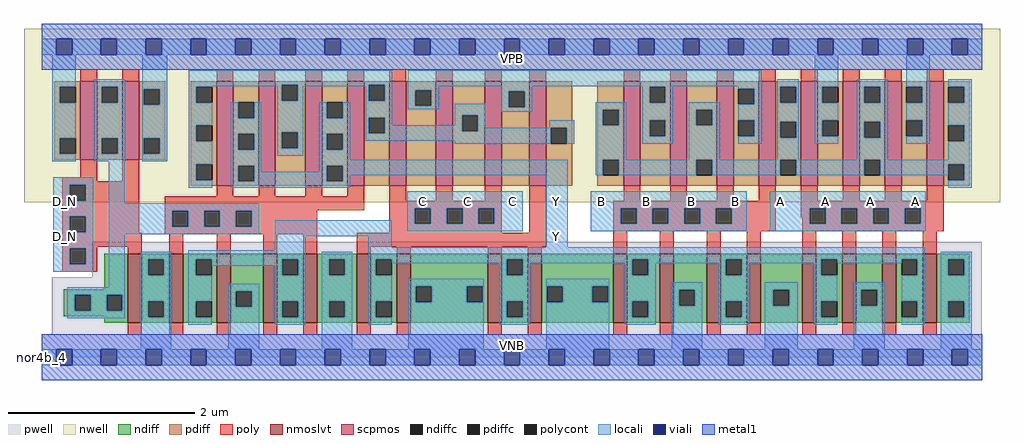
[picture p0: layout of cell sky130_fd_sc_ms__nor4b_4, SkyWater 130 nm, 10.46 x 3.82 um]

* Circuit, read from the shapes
.subckt sky130_fd_sc_ms__nor4b_4 A B C D_N VGND VNB VPB VPWR Y
XM1 VGND D_N n1 VNB sky130_fd_pr__nfet_01v8_lvt w=0.74 l=0.15
XM2 Y n1 VGND VNB sky130_fd_pr__nfet_01v8_lvt w=0.74 l=0.15 m=4
XM3 Y C VGND VNB sky130_fd_pr__nfet_01v8_lvt w=0.74 l=0.15 m=4
XM4 Y B VGND VNB sky130_fd_pr__nfet_01v8_lvt w=0.74 l=0.15 m=4
XM5 Y A VGND VNB sky130_fd_pr__nfet_01v8_lvt w=0.74 l=0.15 m=4
XM6 n1 D_N VPWR VPB sky130_fd_pr__pfet_01v8 w=0.84 l=0.18 m=2
XM7 Y n1 n2 VPB sky130_fd_pr__pfet_01v8 w=1.12 l=0.18 m=4
XM8 n3 C n2 VPB sky130_fd_pr__pfet_01v8 w=1.12 l=0.18 m=4
XM9 n3 B n4 VPB sky130_fd_pr__pfet_01v8 w=1.12 l=0.18 m=4
XM10 VPWR A n4 VPB sky130_fd_pr__pfet_01v8 w=1.12 l=0.18 m=4
.ends

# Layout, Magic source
magic
tech sky130A
magscale 1 2
<< nwell >>
rect -38 332 2054 704
<< pwell >>
rect 108 172 2015 248
rect 21 49 2015 172
rect 0 0 2016 49
<< scpmos >>
rect 83 424 119 592
rect 173 424 209 592
rect 375 368 411 592
rect 465 368 501 592
rect 565 368 601 592
rect 655 368 691 592
rect 745 368 781 592
rect 845 368 881 592
rect 950 368 986 592
rect 1045 368 1081 592
rect 1247 368 1283 592
rect 1347 368 1383 592
rect 1447 368 1483 592
rect 1537 368 1573 592
rect 1627 368 1663 592
rect 1717 368 1753 592
rect 1807 368 1843 592
rect 1897 368 1933 592
<< nmoslvt >>
rect 184 74 214 222
rect 273 74 303 222
rect 375 74 405 222
rect 475 74 505 222
rect 561 74 591 222
rect 675 74 705 222
rect 761 74 791 222
rect 956 74 986 222
rect 1042 74 1072 222
rect 1225 74 1255 222
rect 1325 74 1355 222
rect 1425 74 1455 222
rect 1511 74 1541 222
rect 1630 74 1660 222
rect 1716 74 1746 222
rect 1802 74 1832 222
rect 1888 74 1918 222
<< ndiff >>
rect 134 146 184 222
rect 47 134 184 146
rect 47 100 71 134
rect 105 100 139 134
rect 173 100 184 134
rect 47 88 184 100
rect 134 74 184 88
rect 214 210 273 222
rect 214 176 228 210
rect 262 176 273 210
rect 214 120 273 176
rect 214 86 228 120
rect 262 86 273 120
rect 214 74 273 86
rect 303 210 375 222
rect 303 176 330 210
rect 364 176 375 210
rect 303 120 375 176
rect 303 86 330 120
rect 364 86 375 120
rect 303 74 375 86
rect 405 142 475 222
rect 405 108 416 142
rect 450 108 475 142
rect 405 74 475 108
rect 505 210 561 222
rect 505 176 516 210
rect 550 176 561 210
rect 505 120 561 176
rect 505 86 516 120
rect 550 86 561 120
rect 505 74 561 86
rect 591 210 675 222
rect 591 176 616 210
rect 650 176 675 210
rect 591 120 675 176
rect 591 86 616 120
rect 650 86 675 120
rect 591 74 675 86
rect 705 210 761 222
rect 705 176 716 210
rect 750 176 761 210
rect 705 120 761 176
rect 705 86 716 120
rect 750 86 761 120
rect 705 74 761 86
rect 791 152 956 222
rect 791 118 802 152
rect 836 118 911 152
rect 945 118 956 152
rect 791 74 956 118
rect 986 210 1042 222
rect 986 176 997 210
rect 1031 176 1042 210
rect 986 120 1042 176
rect 986 86 997 120
rect 1031 86 1042 120
rect 986 74 1042 86
rect 1072 152 1225 222
rect 1072 118 1083 152
rect 1117 118 1180 152
rect 1214 118 1225 152
rect 1072 74 1225 118
rect 1255 210 1325 222
rect 1255 176 1266 210
rect 1300 176 1325 210
rect 1255 120 1325 176
rect 1255 86 1266 120
rect 1300 86 1325 120
rect 1255 74 1325 86
rect 1355 145 1425 222
rect 1355 111 1366 145
rect 1400 111 1425 145
rect 1355 74 1425 111
rect 1455 210 1511 222
rect 1455 176 1466 210
rect 1500 176 1511 210
rect 1455 120 1511 176
rect 1455 86 1466 120
rect 1500 86 1511 120
rect 1455 74 1511 86
rect 1541 145 1630 222
rect 1541 111 1568 145
rect 1602 111 1630 145
rect 1541 74 1630 111
rect 1660 210 1716 222
rect 1660 176 1671 210
rect 1705 176 1716 210
rect 1660 120 1716 176
rect 1660 86 1671 120
rect 1705 86 1716 120
rect 1660 74 1716 86
rect 1746 145 1802 222
rect 1746 111 1757 145
rect 1791 111 1802 145
rect 1746 74 1802 111
rect 1832 210 1888 222
rect 1832 176 1843 210
rect 1877 176 1888 210
rect 1832 120 1888 176
rect 1832 86 1843 120
rect 1877 86 1888 120
rect 1832 74 1888 86
rect 1918 210 1989 222
rect 1918 176 1943 210
rect 1977 176 1989 210
rect 1918 120 1989 176
rect 1918 86 1943 120
rect 1977 86 1989 120
rect 1918 74 1989 86
<< pdiff >>
rect 27 580 83 592
rect 27 546 39 580
rect 73 546 83 580
rect 27 470 83 546
rect 27 436 39 470
rect 73 436 83 470
rect 27 424 83 436
rect 119 580 173 592
rect 119 546 129 580
rect 163 546 173 580
rect 119 470 173 546
rect 119 436 129 470
rect 163 436 173 470
rect 119 424 173 436
rect 209 575 265 592
rect 209 541 219 575
rect 253 541 265 575
rect 209 470 265 541
rect 209 436 219 470
rect 253 436 265 470
rect 209 424 265 436
rect 319 580 375 592
rect 319 546 331 580
rect 365 546 375 580
rect 319 497 375 546
rect 319 463 331 497
rect 365 463 375 497
rect 319 414 375 463
rect 319 380 331 414
rect 365 380 375 414
rect 319 368 375 380
rect 411 547 465 592
rect 411 513 421 547
rect 455 513 465 547
rect 411 479 465 513
rect 411 445 421 479
rect 455 445 465 479
rect 411 411 465 445
rect 411 377 421 411
rect 455 377 465 411
rect 411 368 465 377
rect 501 584 565 592
rect 501 550 515 584
rect 549 550 565 584
rect 501 482 565 550
rect 501 448 515 482
rect 549 448 565 482
rect 501 368 565 448
rect 601 547 655 592
rect 601 513 611 547
rect 645 513 655 547
rect 601 479 655 513
rect 601 445 611 479
rect 645 445 655 479
rect 601 411 655 445
rect 601 377 611 411
rect 645 377 655 411
rect 601 368 655 377
rect 691 584 745 592
rect 691 550 701 584
rect 735 550 745 584
rect 691 514 745 550
rect 691 480 701 514
rect 735 480 745 514
rect 691 368 745 480
rect 781 573 845 592
rect 781 539 801 573
rect 835 539 845 573
rect 781 368 845 539
rect 881 519 950 592
rect 881 485 901 519
rect 935 485 950 519
rect 881 368 950 485
rect 986 570 1045 592
rect 986 536 1001 570
rect 1035 536 1045 570
rect 986 368 1045 536
rect 1081 492 1137 592
rect 1081 458 1091 492
rect 1125 458 1137 492
rect 1081 368 1137 458
rect 1191 531 1247 592
rect 1191 497 1203 531
rect 1237 497 1247 531
rect 1191 424 1247 497
rect 1191 390 1203 424
rect 1237 390 1247 424
rect 1191 368 1247 390
rect 1283 580 1347 592
rect 1283 546 1303 580
rect 1337 546 1347 580
rect 1283 508 1347 546
rect 1283 474 1303 508
rect 1337 474 1347 508
rect 1283 368 1347 474
rect 1383 531 1447 592
rect 1383 497 1403 531
rect 1437 497 1447 531
rect 1383 424 1447 497
rect 1383 390 1403 424
rect 1437 390 1447 424
rect 1383 368 1447 390
rect 1483 576 1537 592
rect 1483 542 1493 576
rect 1527 542 1537 576
rect 1483 508 1537 542
rect 1483 474 1493 508
rect 1527 474 1537 508
rect 1483 368 1537 474
rect 1573 580 1627 592
rect 1573 546 1583 580
rect 1617 546 1627 580
rect 1573 505 1627 546
rect 1573 471 1583 505
rect 1617 471 1627 505
rect 1573 424 1627 471
rect 1573 390 1583 424
rect 1617 390 1627 424
rect 1573 368 1627 390
rect 1663 580 1717 592
rect 1663 546 1673 580
rect 1707 546 1717 580
rect 1663 508 1717 546
rect 1663 474 1673 508
rect 1707 474 1717 508
rect 1663 368 1717 474
rect 1753 580 1807 592
rect 1753 546 1763 580
rect 1797 546 1807 580
rect 1753 505 1807 546
rect 1753 471 1763 505
rect 1797 471 1807 505
rect 1753 424 1807 471
rect 1753 390 1763 424
rect 1797 390 1807 424
rect 1753 368 1807 390
rect 1843 580 1897 592
rect 1843 546 1853 580
rect 1887 546 1897 580
rect 1843 508 1897 546
rect 1843 474 1853 508
rect 1887 474 1897 508
rect 1843 368 1897 474
rect 1933 580 1989 592
rect 1933 546 1943 580
rect 1977 546 1989 580
rect 1933 497 1989 546
rect 1933 463 1943 497
rect 1977 463 1989 497
rect 1933 414 1989 463
rect 1933 380 1943 414
rect 1977 380 1989 414
rect 1933 368 1989 380
<< ndiffc >>
rect 71 100 105 134
rect 139 100 173 134
rect 228 176 262 210
rect 228 86 262 120
rect 330 176 364 210
rect 330 86 364 120
rect 416 108 450 142
rect 516 176 550 210
rect 516 86 550 120
rect 616 176 650 210
rect 616 86 650 120
rect 716 176 750 210
rect 716 86 750 120
rect 802 118 836 152
rect 911 118 945 152
rect 997 176 1031 210
rect 997 86 1031 120
rect 1083 118 1117 152
rect 1180 118 1214 152
rect 1266 176 1300 210
rect 1266 86 1300 120
rect 1366 111 1400 145
rect 1466 176 1500 210
rect 1466 86 1500 120
rect 1568 111 1602 145
rect 1671 176 1705 210
rect 1671 86 1705 120
rect 1757 111 1791 145
rect 1843 176 1877 210
rect 1843 86 1877 120
rect 1943 176 1977 210
rect 1943 86 1977 120
<< pdiffc >>
rect 39 546 73 580
rect 39 436 73 470
rect 129 546 163 580
rect 129 436 163 470
rect 219 541 253 575
rect 219 436 253 470
rect 331 546 365 580
rect 331 463 365 497
rect 331 380 365 414
rect 421 513 455 547
rect 421 445 455 479
rect 421 377 455 411
rect 515 550 549 584
rect 515 448 549 482
rect 611 513 645 547
rect 611 445 645 479
rect 611 377 645 411
rect 701 550 735 584
rect 701 480 735 514
rect 801 539 835 573
rect 901 485 935 519
rect 1001 536 1035 570
rect 1091 458 1125 492
rect 1203 497 1237 531
rect 1203 390 1237 424
rect 1303 546 1337 580
rect 1303 474 1337 508
rect 1403 497 1437 531
rect 1403 390 1437 424
rect 1493 542 1527 576
rect 1493 474 1527 508
rect 1583 546 1617 580
rect 1583 471 1617 505
rect 1583 390 1617 424
rect 1673 546 1707 580
rect 1673 474 1707 508
rect 1763 546 1797 580
rect 1763 471 1797 505
rect 1763 390 1797 424
rect 1853 546 1887 580
rect 1853 474 1887 508
rect 1943 546 1977 580
rect 1943 463 1977 497
rect 1943 380 1977 414
<< poly >>
rect 83 592 119 618
rect 173 592 209 618
rect 375 592 411 618
rect 465 592 501 618
rect 565 592 601 618
rect 655 592 691 618
rect 745 592 781 618
rect 845 592 881 618
rect 950 592 986 618
rect 1045 592 1081 618
rect 1247 592 1283 618
rect 1347 592 1383 618
rect 1447 592 1483 618
rect 1537 592 1573 618
rect 1627 592 1663 618
rect 1717 592 1753 618
rect 1807 592 1843 618
rect 1897 592 1933 618
rect 83 386 119 424
rect 44 377 119 386
rect 173 377 209 424
rect 44 370 209 377
rect 44 336 60 370
rect 94 336 209 370
rect 375 345 411 368
rect 465 345 501 368
rect 565 345 601 368
rect 655 345 691 368
rect 44 302 209 336
rect 44 268 60 302
rect 94 268 209 302
rect 44 267 209 268
rect 264 315 691 345
rect 745 336 781 368
rect 845 336 881 368
rect 950 336 986 368
rect 745 320 986 336
rect 264 314 591 315
rect 264 280 280 314
rect 314 280 348 314
rect 382 280 416 314
rect 450 280 591 314
rect 44 237 214 267
rect 264 264 591 280
rect 745 286 800 320
rect 834 286 868 320
rect 902 286 936 320
rect 970 286 986 320
rect 745 267 986 286
rect 1045 267 1081 368
rect 1247 336 1283 368
rect 1347 336 1383 368
rect 1447 336 1483 368
rect 1537 336 1573 368
rect 44 234 119 237
rect 44 200 60 234
rect 94 200 119 234
rect 184 222 214 237
rect 273 222 303 264
rect 375 222 405 264
rect 475 222 505 264
rect 561 222 591 264
rect 675 237 1081 267
rect 1225 320 1573 336
rect 1225 286 1241 320
rect 1275 286 1309 320
rect 1343 286 1377 320
rect 1411 286 1445 320
rect 1479 286 1573 320
rect 1627 336 1663 368
rect 1717 336 1753 368
rect 1807 336 1843 368
rect 1897 336 1933 368
rect 1627 320 1933 336
rect 1627 300 1646 320
rect 1225 270 1573 286
rect 1630 286 1646 300
rect 1680 286 1714 320
rect 1748 286 1782 320
rect 1816 286 1850 320
rect 1884 286 1933 320
rect 1630 270 1933 286
rect 675 222 705 237
rect 761 222 791 237
rect 956 222 986 237
rect 1042 222 1072 237
rect 1225 222 1255 270
rect 1325 222 1355 270
rect 1425 222 1455 270
rect 1511 222 1541 270
rect 1630 222 1660 270
rect 1716 222 1746 270
rect 1802 222 1832 270
rect 1888 222 1918 270
rect 44 184 119 200
rect 184 48 214 74
rect 273 48 303 74
rect 375 48 405 74
rect 475 48 505 74
rect 561 48 591 74
rect 675 48 705 74
rect 761 48 791 74
rect 956 48 986 74
rect 1042 48 1072 74
rect 1225 48 1255 74
rect 1325 48 1355 74
rect 1425 48 1455 74
rect 1511 48 1541 74
rect 1630 48 1660 74
rect 1716 48 1746 74
rect 1802 48 1832 74
rect 1888 48 1918 74
<< polycont >>
rect 60 336 94 370
rect 60 268 94 302
rect 280 280 314 314
rect 348 280 382 314
rect 416 280 450 314
rect 800 286 834 320
rect 868 286 902 320
rect 936 286 970 320
rect 60 200 94 234
rect 1241 286 1275 320
rect 1309 286 1343 320
rect 1377 286 1411 320
rect 1445 286 1479 320
rect 1646 286 1680 320
rect 1714 286 1748 320
rect 1782 286 1816 320
rect 1850 286 1884 320
<< locali >>
rect 0 649 31 683
rect 65 649 127 683
rect 161 649 223 683
rect 257 649 319 683
rect 353 649 415 683
rect 449 649 511 683
rect 545 649 607 683
rect 641 649 703 683
rect 737 649 799 683
rect 833 649 895 683
rect 929 649 991 683
rect 1025 649 1087 683
rect 1121 649 1183 683
rect 1217 649 1279 683
rect 1313 649 1375 683
rect 1409 649 1471 683
rect 1505 649 1567 683
rect 1601 649 1663 683
rect 1697 649 1759 683
rect 1793 649 1855 683
rect 1889 649 1951 683
rect 1985 649 2016 683
rect 23 580 73 649
rect 23 546 39 580
rect 23 470 73 546
rect 23 436 39 470
rect 23 420 73 436
rect 113 580 179 596
rect 113 546 129 580
rect 163 546 179 580
rect 113 470 179 546
rect 113 436 129 470
rect 163 436 179 470
rect 113 420 179 436
rect 215 575 269 649
rect 215 541 219 575
rect 253 541 269 575
rect 215 470 269 541
rect 215 436 219 470
rect 253 436 269 470
rect 215 420 269 436
rect 315 584 751 615
rect 315 581 515 584
rect 315 580 365 581
rect 315 546 331 580
rect 505 550 515 581
rect 549 581 701 584
rect 549 550 561 581
rect 315 497 365 546
rect 315 463 331 497
rect 25 370 110 386
rect 25 336 60 370
rect 94 336 110 370
rect 25 302 110 336
rect 25 268 60 302
rect 94 268 110 302
rect 25 234 110 268
rect 25 200 60 234
rect 94 200 110 234
rect 25 184 110 200
rect 144 330 178 420
rect 315 414 365 463
rect 315 380 331 414
rect 315 364 365 380
rect 405 513 421 547
rect 455 513 471 547
rect 405 479 471 513
rect 405 445 421 479
rect 455 445 471 479
rect 405 411 471 445
rect 505 482 561 550
rect 695 550 701 581
rect 735 550 751 584
rect 505 448 515 482
rect 549 448 561 482
rect 505 432 561 448
rect 595 513 611 547
rect 645 513 661 547
rect 595 479 661 513
rect 595 445 611 479
rect 645 445 661 479
rect 695 514 751 550
rect 785 581 1543 615
rect 785 573 851 581
rect 785 539 801 573
rect 835 539 851 573
rect 985 570 1051 581
rect 785 532 851 539
rect 695 480 701 514
rect 735 498 751 514
rect 885 519 951 544
rect 985 536 1001 570
rect 1035 536 1051 570
rect 1287 580 1353 581
rect 985 526 1051 536
rect 1187 531 1253 547
rect 885 498 901 519
rect 735 485 901 498
rect 935 492 951 519
rect 1088 492 1141 508
rect 935 485 1091 492
rect 735 480 1091 485
rect 695 464 1091 480
rect 885 458 1091 464
rect 1125 458 1141 492
rect 1187 497 1203 531
rect 1237 497 1253 531
rect 405 377 421 411
rect 455 398 471 411
rect 595 424 661 445
rect 1187 424 1253 497
rect 1287 546 1303 580
rect 1337 546 1353 580
rect 1493 576 1543 581
rect 1287 508 1353 546
rect 1287 474 1303 508
rect 1337 474 1353 508
rect 1287 458 1353 474
rect 1387 531 1453 547
rect 1387 497 1403 531
rect 1437 497 1453 531
rect 1387 424 1453 497
rect 1527 542 1543 576
rect 1493 508 1543 542
rect 1527 474 1543 508
rect 1493 458 1543 474
rect 1577 580 1623 596
rect 1577 546 1583 580
rect 1617 546 1623 580
rect 1577 505 1623 546
rect 1577 471 1583 505
rect 1617 471 1623 505
rect 1577 424 1623 471
rect 1657 580 1707 649
rect 1657 546 1673 580
rect 1657 508 1707 546
rect 1657 474 1673 508
rect 1657 458 1707 474
rect 1747 580 1813 596
rect 1747 546 1763 580
rect 1797 546 1813 580
rect 1747 505 1813 546
rect 1747 471 1763 505
rect 1797 471 1813 505
rect 1747 424 1813 471
rect 1853 580 1903 649
rect 1887 546 1903 580
rect 1853 508 1903 546
rect 1887 474 1903 508
rect 1853 458 1903 474
rect 1943 580 1993 596
rect 1977 546 1993 580
rect 1943 497 1993 546
rect 1977 463 1993 497
rect 1943 424 1993 463
rect 595 411 1127 424
rect 595 398 611 411
rect 455 377 611 398
rect 645 390 1127 411
rect 1187 390 1203 424
rect 1237 390 1403 424
rect 1437 390 1583 424
rect 1617 390 1763 424
rect 1797 414 1993 424
rect 1797 390 1943 414
rect 645 377 661 390
rect 405 364 661 377
rect 144 314 466 330
rect 144 280 280 314
rect 314 280 348 314
rect 382 280 416 314
rect 450 280 466 314
rect 784 320 1031 356
rect 144 264 466 280
rect 144 150 178 264
rect 500 260 750 294
rect 784 286 800 320
rect 834 286 868 320
rect 902 286 936 320
rect 970 286 1031 320
rect 784 270 1031 286
rect 500 230 566 260
rect 55 134 178 150
rect 55 100 71 134
rect 105 100 139 134
rect 173 100 178 134
rect 55 84 178 100
rect 212 210 278 226
rect 212 176 228 210
rect 262 176 278 210
rect 212 120 278 176
rect 212 86 228 120
rect 262 86 278 120
rect 212 17 278 86
rect 314 210 566 230
rect 700 236 750 260
rect 1081 236 1127 390
rect 1977 380 1993 414
rect 1943 364 1993 380
rect 1177 320 1511 356
rect 1177 286 1241 320
rect 1275 286 1309 320
rect 1343 286 1377 320
rect 1411 286 1445 320
rect 1479 286 1511 320
rect 1177 270 1511 286
rect 1561 320 1895 356
rect 1561 286 1646 320
rect 1680 286 1714 320
rect 1748 286 1782 320
rect 1816 286 1850 320
rect 1884 286 1895 320
rect 1561 270 1895 286
rect 314 176 330 210
rect 364 196 516 210
rect 314 120 364 176
rect 500 176 516 196
rect 550 176 566 210
rect 314 86 330 120
rect 314 70 364 86
rect 400 142 466 158
rect 400 108 416 142
rect 450 108 466 142
rect 400 17 466 108
rect 500 120 566 176
rect 500 86 516 120
rect 550 86 566 120
rect 500 70 566 86
rect 600 210 666 226
rect 600 176 616 210
rect 650 176 666 210
rect 600 120 666 176
rect 600 86 616 120
rect 650 86 666 120
rect 600 17 666 86
rect 700 210 1893 236
rect 700 176 716 210
rect 750 202 997 210
rect 700 120 750 176
rect 981 176 997 202
rect 1031 202 1266 210
rect 1031 176 1047 202
rect 700 86 716 120
rect 700 70 750 86
rect 786 152 947 168
rect 786 118 802 152
rect 836 118 911 152
rect 945 118 947 152
rect 786 17 947 118
rect 981 120 1047 176
rect 1250 176 1266 202
rect 1300 202 1466 210
rect 1300 176 1316 202
rect 981 86 997 120
rect 1031 86 1047 120
rect 981 70 1047 86
rect 1081 152 1216 168
rect 1081 118 1083 152
rect 1117 118 1180 152
rect 1214 118 1216 152
rect 1081 17 1216 118
rect 1250 120 1316 176
rect 1450 176 1466 202
rect 1500 202 1671 210
rect 1500 176 1516 202
rect 1250 86 1266 120
rect 1300 86 1316 120
rect 1250 70 1316 86
rect 1350 145 1416 161
rect 1350 111 1366 145
rect 1400 111 1416 145
rect 1350 17 1416 111
rect 1450 120 1516 176
rect 1655 176 1671 202
rect 1705 202 1843 210
rect 1450 86 1466 120
rect 1500 86 1516 120
rect 1450 70 1516 86
rect 1550 145 1621 161
rect 1550 111 1568 145
rect 1602 111 1621 145
rect 1550 17 1621 111
rect 1655 120 1705 176
rect 1877 176 1893 210
rect 1655 86 1671 120
rect 1655 70 1705 86
rect 1741 145 1807 161
rect 1741 111 1757 145
rect 1791 111 1807 145
rect 1741 17 1807 111
rect 1843 120 1893 176
rect 1877 86 1893 120
rect 1843 70 1893 86
rect 1927 210 1993 226
rect 1927 176 1943 210
rect 1977 176 1993 210
rect 1927 120 1993 176
rect 1927 86 1943 120
rect 1977 86 1993 120
rect 1927 17 1993 86
rect 0 -17 31 17
rect 65 -17 127 17
rect 161 -17 223 17
rect 257 -17 319 17
rect 353 -17 415 17
rect 449 -17 511 17
rect 545 -17 607 17
rect 641 -17 703 17
rect 737 -17 799 17
rect 833 -17 895 17
rect 929 -17 991 17
rect 1025 -17 1087 17
rect 1121 -17 1183 17
rect 1217 -17 1279 17
rect 1313 -17 1375 17
rect 1409 -17 1471 17
rect 1505 -17 1567 17
rect 1601 -17 1663 17
rect 1697 -17 1759 17
rect 1793 -17 1855 17
rect 1889 -17 1951 17
rect 1985 -17 2016 17
<< viali >>
rect 31 649 65 683
rect 127 649 161 683
rect 223 649 257 683
rect 319 649 353 683
rect 415 649 449 683
rect 511 649 545 683
rect 607 649 641 683
rect 703 649 737 683
rect 799 649 833 683
rect 895 649 929 683
rect 991 649 1025 683
rect 1087 649 1121 683
rect 1183 649 1217 683
rect 1279 649 1313 683
rect 1375 649 1409 683
rect 1471 649 1505 683
rect 1567 649 1601 683
rect 1663 649 1697 683
rect 1759 649 1793 683
rect 1855 649 1889 683
rect 1951 649 1985 683
rect 31 -17 65 17
rect 127 -17 161 17
rect 223 -17 257 17
rect 319 -17 353 17
rect 415 -17 449 17
rect 511 -17 545 17
rect 607 -17 641 17
rect 703 -17 737 17
rect 799 -17 833 17
rect 895 -17 929 17
rect 991 -17 1025 17
rect 1087 -17 1121 17
rect 1183 -17 1217 17
rect 1279 -17 1313 17
rect 1375 -17 1409 17
rect 1471 -17 1505 17
rect 1567 -17 1601 17
rect 1663 -17 1697 17
rect 1759 -17 1793 17
rect 1855 -17 1889 17
rect 1951 -17 1985 17
<< metal1 >>
rect 0 683 2016 715
rect 0 649 31 683
rect 65 649 127 683
rect 161 649 223 683
rect 257 649 319 683
rect 353 649 415 683
rect 449 649 511 683
rect 545 649 607 683
rect 641 649 703 683
rect 737 649 799 683
rect 833 649 895 683
rect 929 649 991 683
rect 1025 649 1087 683
rect 1121 649 1183 683
rect 1217 649 1279 683
rect 1313 649 1375 683
rect 1409 649 1471 683
rect 1505 649 1567 683
rect 1601 649 1663 683
rect 1697 649 1759 683
rect 1793 649 1855 683
rect 1889 649 1951 683
rect 1985 649 2016 683
rect 0 617 2016 649
rect 0 17 2016 49
rect 0 -17 31 17
rect 65 -17 127 17
rect 161 -17 223 17
rect 257 -17 319 17
rect 353 -17 415 17
rect 449 -17 511 17
rect 545 -17 607 17
rect 641 -17 703 17
rect 737 -17 799 17
rect 833 -17 895 17
rect 929 -17 991 17
rect 1025 -17 1087 17
rect 1121 -17 1183 17
rect 1217 -17 1279 17
rect 1313 -17 1375 17
rect 1409 -17 1471 17
rect 1505 -17 1567 17
rect 1601 -17 1663 17
rect 1697 -17 1759 17
rect 1793 -17 1855 17
rect 1889 -17 1951 17
rect 1985 -17 2016 17
rect 0 -49 2016 -17
<< labels >>
flabel pwell s 0 0 2016 49 0 FreeSans 200 0 0 0 VNB
port 6 nsew ground bidirectional
flabel nwell s 0 617 2016 666 0 FreeSans 200 0 0 0 VPB
port 7 nsew power bidirectional
rlabel comment s 0 0 0 0 4 nor4b_4
flabel metal1 s 0 617 2016 666 0 FreeSans 340 0 0 0 VPWR
port 8 nsew power bidirectional
flabel metal1 s 0 0 2016 49 0 FreeSans 340 0 0 0 VGND
port 5 nsew ground bidirectional
flabel locali s 31 242 65 276 0 FreeSans 340 0 0 0 D_N
port 4 nsew signal input
flabel locali s 31 316 65 350 0 FreeSans 340 0 0 0 D_N
port 4 nsew signal input
flabel locali s 799 316 833 350 0 FreeSans 340 0 0 0 C
port 3 nsew signal input
flabel locali s 895 316 929 350 0 FreeSans 340 0 0 0 C
port 3 nsew signal input
flabel locali s 991 316 1025 350 0 FreeSans 340 0 0 0 C
port 3 nsew signal input
flabel locali s 1183 316 1217 350 0 FreeSans 340 0 0 0 B
port 2 nsew signal input
flabel locali s 1279 316 1313 350 0 FreeSans 340 0 0 0 B
port 2 nsew signal input
flabel locali s 1375 316 1409 350 0 FreeSans 340 0 0 0 B
port 2 nsew signal input
flabel locali s 1471 316 1505 350 0 FreeSans 340 0 0 0 B
port 2 nsew signal input
flabel locali s 1567 316 1601 350 0 FreeSans 340 0 0 0 A
port 1 nsew signal input
flabel locali s 1663 316 1697 350 0 FreeSans 340 0 0 0 A
port 1 nsew signal input
flabel locali s 1759 316 1793 350 0 FreeSans 340 0 0 0 A
port 1 nsew signal input
flabel locali s 1855 316 1889 350 0 FreeSans 340 0 0 0 A
port 1 nsew signal input
flabel locali s 1087 242 1121 276 0 FreeSans 340 0 0 0 Y
port 9 nsew signal output
flabel locali s 1087 316 1121 350 0 FreeSans 340 0 0 0 Y
port 9 nsew signal output
<< properties >>
string LEFsite unit
string LEFclass CORE
string FIXED_BBOX 0 0 2016 666
string GDS_FILE $PDKPATH/libs.ref/sky130_fd_sc_ms/gds/sky130_fd_sc_ms.gds
string LEFsymmetry X Y
string GDS_END 915872
string GDS_START 900476
<< end >>
